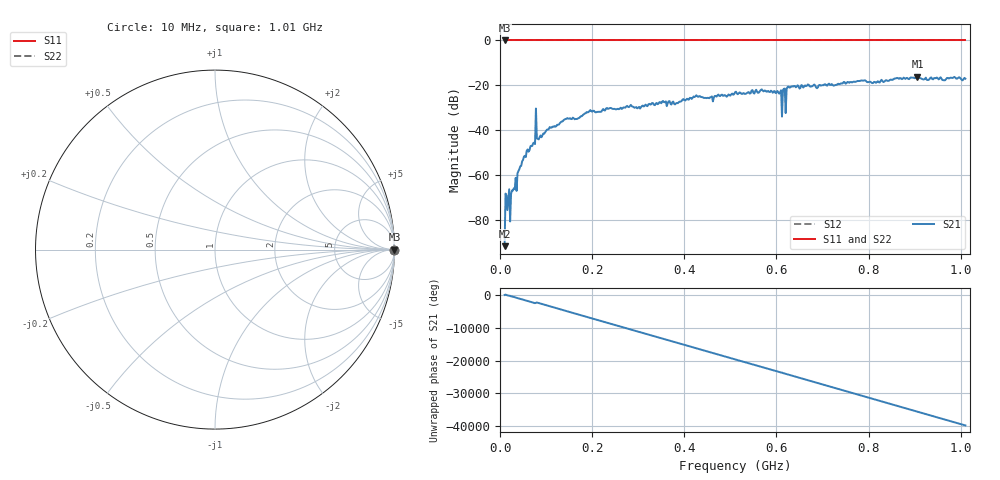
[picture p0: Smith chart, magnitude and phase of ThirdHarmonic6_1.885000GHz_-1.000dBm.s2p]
! 8/16/2025 10:46:17 PM
! C:\ANRITSUVNA\TEMP\TEMP.S2P
! CHANNEL.1
! TR.MEASUREMENT
! RAW.DATA
! RF.CORRECTION.OFF
! AVERAGING.OFF
! IF.BANDWIDTH: 5KHZ
! SWEEPTYPE:  FREQ.SWEEP(Linear)
! Reference Plane Port Info
! PORT:  PORT1  PORT2
! DISTANCE:  0  m  0  m
! TIME:  0  s  0  s
! PHASE.OFFSET:  0  deg.  0  deg.
! LOSS:  0  dB  0  dB
! REF.LOSS:  0  dB  0  dB
! REF.FREQ:  0  Hz  0  Hz
! Power Info
! POWER:  -20  dBm  -20  dBm
! EFF.POWER:  -20  dBm  -20  dBm
! SOURCE.ATTEN:  0  dB  0  dB
! TEST.ATTEN:  0  dB  0  dB
# GHZ S RI R 50.0
! FREQ.GHZ  S11RE  S11IM  S21RE  S21IM  S12RE  S12IM  S22RE  S22IM
!; PortSelection: Port_12
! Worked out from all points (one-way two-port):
!   501 points, 10 MHz to 1.01 GHz, reference 50 ohm
!   highest |S21| = -16.12 dB at 906 MHz (marker M1); lowest = -91.7 dB at 10 MHz (marker M2)
!   lowest |S11| = 0.0 dB at 10 MHz (marker M3)
!   |S11| at or under -10 dB: nowhere
!   |S22| runs from 0.0 to 0.0 dB; largest |S21 - S12| = 1.1
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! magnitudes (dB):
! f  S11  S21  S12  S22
! 10 MHz  0.0  -91.7  0.0  0.0
! 16 MHz  0.0  -75.6  0.0  0.0
! 18 MHz  0.0  -70.9  0.0  0.0
! 26 MHz  0.0  -66.9  0.0  0.0
! 42 MHz  0.0  -57.4  0.0  0.0
! 72 MHz  0.0  -45.8  0.0  0.0
! 76 MHz  0.0  -46.2  0.0  0.0
! 82 MHz  0.0  -43.9  0.0  0.0
! 86 MHz  0.0  -43.0  0.0  0.0
! 142 MHz  0.0  -35.0  0.0  0.0
! 178 MHz  0.0  -33.7  0.0  0.0
! 344 MHz  0.0  -28.1  0.0  0.0
! 510 MHz  0.0  -23.1  0.0  0.0
! 606 MHz  0.0  -23.7  0.0  0.0
! 608 MHz  0.0  -23.1  0.0  0.0
! 614 MHz  0.0  -22.2  0.0  0.0
! 616 MHz  0.0  -21.6  0.0  0.0
! 628 MHz  0.0  -21.0  0.0  0.0
! 678 MHz  0.0  -20.4  0.0  0.0
! 844 MHz  0.0  -18.0  0.0  0.0
! 906 MHz  0.0  -16.1  0.0  0.0
! 1.01 GHz  0.0  -17.0  0.0  0.0
